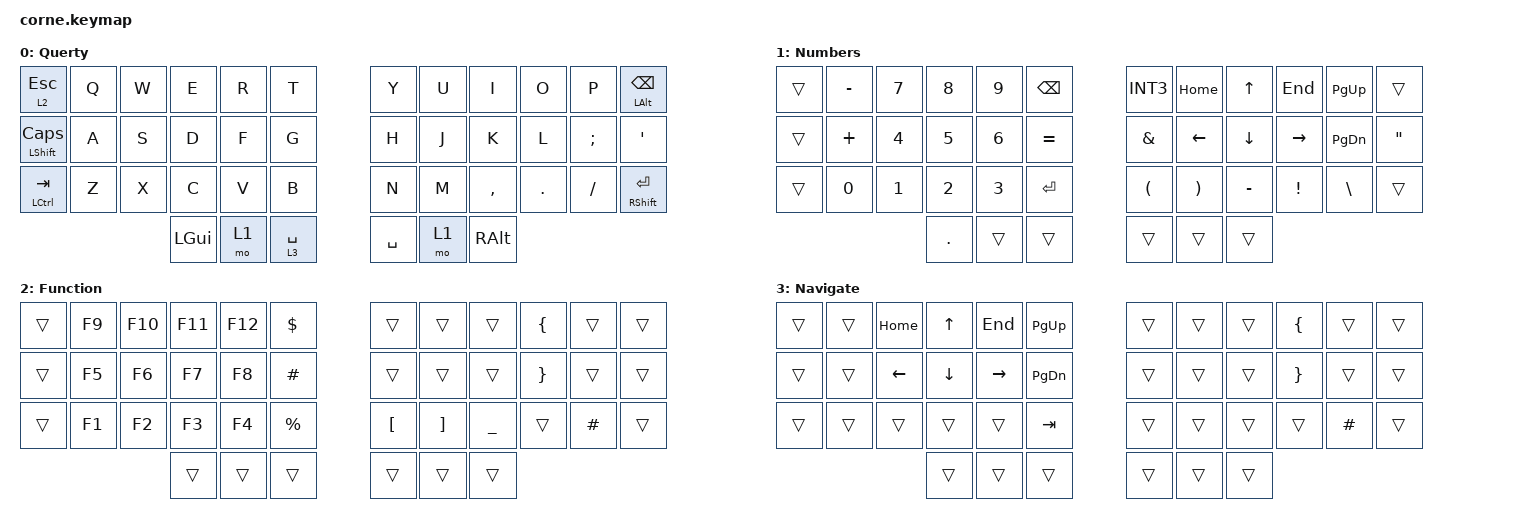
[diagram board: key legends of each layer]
/*
 * Copyright (c) 2020 The ZMK Contributors
 *
 * SPDX-License-Identifier: MIT
 */
 
#include <behaviors.dtsi>
#include <dt-bindings/zmk/keys.h>
#include <dt-bindings/zmk/bt.h>

/ {
        keymap {
                compatible = "zmk,keymap";

                default_layer {
// -----------------------------------------------------------------------------------------
// | CTRL |  Q  |  W  |  E  |  R  |  T  |   |  Y  |  U   |  I  |  O  |  P  | Fx   |
// | Num  |  A  |  S  |  D  |  F  |  G  |   |  H  |  J   |  K  |  L  |  ;  |  '   |
// | SHFT |  Z  |  X  |  C  |  V  |  B  |   |  N  |  M   |  ,  |  .  |  /  | BKSP |
//                    | LCMD | SPC | SPC |   | SPC | SPC  | ENT |
                        display-name = "Querty";
                        bindings = <
   &lt 2     ESC  &kp Q &kp W &kp E &kp R &kp T   &kp Y &kp U  &kp I     &kp O   &kp P    &mt LALT BSPC
   &mt LSHFT CAPS &kp A &kp S &kp D &kp F &kp G   &kp H &kp J  &kp K     &kp L   &kp SEMI &kp SQT
   &mt LCTRL TAB  &kp Z &kp X &kp C &kp V &kp B   &kp N &kp M  &kp COMMA &kp DOT &kp FSLH &mt RSHFT RET
                  &kp LGUI &mo 1 &lt 3 SPACE   &kp SPACE &mo 1 &kp RALT
                        >;
                };
                lower_layer {
// -----------------------------------------------------------------------------------------
// | ESC    |  *  |  =  |  7  |  8  |  9  |   | HOME | UP |  END | TAB | PGU   | Fx    |
// | QUERTY |  -  |  .  |  4  |  5  |  6  |   | LFT | DWN |  RGT |     | PGD   |  @    |
// | CAPS   |  +  |  0  |  1  |  2  |  3  |   |  [  |  ]  |   (  |  )  | bkslsh| DEL   |
//                      | LCMD | SPC | SPC |   | SPC | SPC  | ENT |
                        display-name = "Numbers";
                        bindings = <
   &trans    &kp MINUS      &kp N7       &kp N8       &kp N9       &kp BSPC         &kp INT3  &kp HOME  &kp UP      &kp END   &kp PG_UP  &trans
   &trans    &kp PLUS       &kp N4       &kp N5       &kp N6       &kp EQUAL        &kp AMPS  &kp LEFT  &kp DOWN    &kp RIGHT &kp PG_DN  &kp DQT
   &trans    &kp N0         &kp N1       &kp N2       &kp N3       &kp RET          &kp LPAR  &kp RPAR  &kp MINUS   &kp EXCL  &kp BSLH   &trans
                          	       &kp DOT   &trans &trans   &trans &trans &trans
                        >;
                };

                raise_layer {
// -----------------------------------------------------------------------------------------
// | CTRL |  F9 | F10 | F11 | F12 |  $  |   |     |     |     |     |     |  QUERTY |
// | NUM  |  F5 | F6  |  F7 |  F8 |  £  |   |     |     |     |     |     |         |
// | SHFT |  F1 | F2  |  F3 |  F4 |  &  |   |     |     |     |     |     |  DEL    |
//                    | LCMD | SPC | SPC |   | SPC | SPC  | ENT |
                        display-name = "Function";
                        bindings = <
   &trans  &kp F9 &kp F10 &kp F11 &kp  F12  &kp DLLR     &trans   &trans   &trans    &kp LBRC &trans   &trans
   &trans  &kp F5 &kp F6  &kp F7  &kp  F8   &kp POUND    &trans   &trans   &trans    &kp RBRC &trans   &trans
   &trans  &kp F1 &kp F2  &kp F3  &kp  F4   &kp PRCNT    &kp LBKT &kp RBKT &kp UNDER &trans   &kp HASH &trans
                         	       &trans &trans &trans   &trans &trans &trans
                        >;
                };

                extra_1 {
// -----------------------------------------------------------------------------------------
// | CTRL |  F9 | F10 | F11 | F12 |  $  |   |     |     |     |     |     |  QUERTY |
// | NUM  |  F5 | F6  |  F7 |  F8 |  £  |   |     |     |     |     |     |         |
// | SHFT |  F1 | F2  |  F3 |  F4 |  &  |   |     |     |     |     |     |  DEL    |
//                    | LCMD | SPC | SPC |   | SPC | SPC  | ENT |
                        display-name = "Navigate";
                       bindings = <
   &trans  &trans &kp HOME  &kp UP    &kp END    &kp PG_UP    &trans   &trans   &trans    &kp LBRC &trans   &trans
   &trans  &trans &kp LEFT  &kp DOWN  &kp RIGHT  &kp PG_DN    &trans   &trans   &trans    &kp RBRC &trans   &trans
   &trans  &trans &trans    &trans    &trans     &kp TAB      &trans   &trans   &trans    &trans   &kp HASH &trans
                         	       &trans &trans &trans   &trans &trans &trans
                        >;
                };

                extra_2 {
                        status = "reserved";
                };

                extra_3 {
                        status = "reserved";
                };
        };
};
